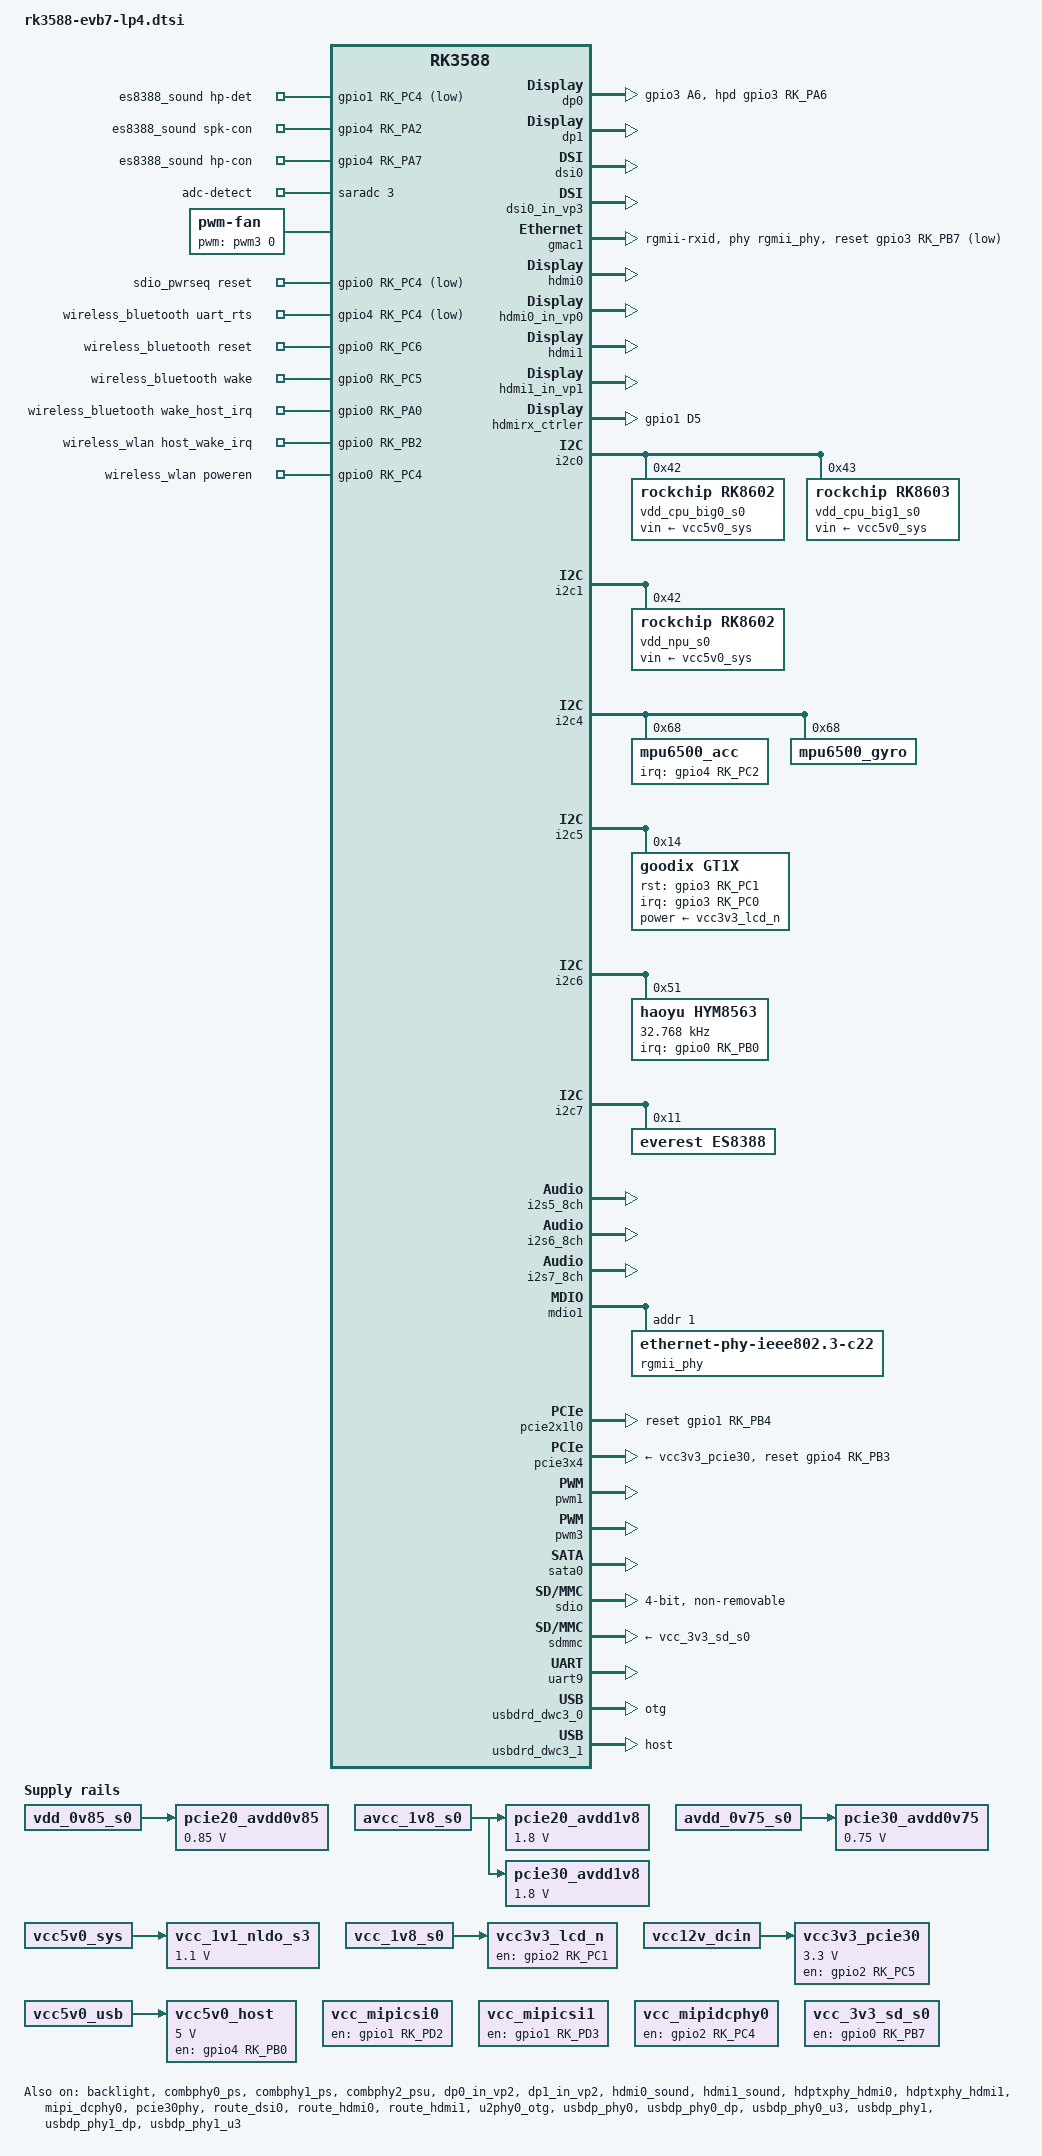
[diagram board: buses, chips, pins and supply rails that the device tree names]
// SPDX-License-Identifier: (GPL-2.0+ OR MIT)
/*
 * Copyright (c) 2021 Rockchip Electronics Co., Ltd.
 *
 */

#include "dt-bindings/usb/pd.h"
#include "rk3588.dtsi"
#include "rk3588-evb.dtsi"
#include "rk3588-rk806-single.dtsi"

/ {
	/* If hdmirx node is disabled, delete the reserved-memory node here. */
	reserved-memory {
		#address-cells = <2>;
		#size-cells = <2>;
		ranges;

		/* Reserve 128MB memory for hdmirx-controller@fdee0000 */
		cma {
			compatible = "shared-dma-pool";
			reusable;
			reg = <0x0 (256 * 0x100000) 0x0 (128 * 0x100000)>;
			linux,cma-default;
		};
	};

	es8388_sound: es8388-sound {
		status = "okay";
		compatible = "rockchip,multicodecs-card";
		rockchip,card-name = "rockchip-es8388";
		hp-det-gpio = <&gpio1 RK_PC4 GPIO_ACTIVE_LOW>;
		io-channels = <&saradc 3>;
		io-channel-names = "adc-detect";
		keyup-threshold-microvolt = <1800000>;
		poll-interval = <100>;
		spk-con-gpio = <&gpio4 RK_PA2 GPIO_ACTIVE_HIGH>;
		hp-con-gpio = <&gpio4 RK_PA7 GPIO_ACTIVE_HIGH>;
		rockchip,format = "i2s";
		rockchip,mclk-fs = <256>;
		rockchip,cpu = <&i2s0_8ch>;
		rockchip,codec = <&es8388>;
		rockchip,audio-routing =
			"Headphone", "LOUT1",
			"Headphone", "ROUT1",
			"Speaker", "LOUT2",
			"Speaker", "ROUT2",
			"Headphone", "Headphone Power",
			"Headphone", "Headphone Power",
			"Speaker", "Speaker Power",
			"Speaker", "Speaker Power",
			"LINPUT1", "Main Mic",
			"LINPUT2", "Main Mic",
			"RINPUT1", "Headset Mic",
			"RINPUT2", "Headset Mic";
		pinctrl-names = "default";
		pinctrl-0 = <&hp_det>;
		play-pause-key {
			label = "playpause";
			linux,code = <KEY_PLAYPAUSE>;
			press-threshold-microvolt = <2000>;
		};
	};

	fan: pwm-fan {
		compatible = "pwm-fan";
		#cooling-cells = <2>;
		pwms = <&pwm3 0 50000 0>;
		cooling-levels = <0 50 100 150 200 255>;
		rockchip,temp-trips = <
			50000	1
			55000	2
			60000	3
			65000	4
			70000	5
		>;
	};

	hdmiin-sound {
		compatible = "rockchip,hdmi";
		rockchip,mclk-fs = <128>;
		rockchip,format = "i2s";
		rockchip,bitclock-master = <&hdmirx_ctrler>;
		rockchip,frame-master = <&hdmirx_ctrler>;
		rockchip,card-name = "rockchip,hdmiin";
		rockchip,cpu = <&i2s7_8ch>;
		rockchip,codec = <&hdmirx_ctrler 0>;
		rockchip,jack-det;
	};

	pcie20_avdd0v85: pcie20-avdd0v85 {
		compatible = "regulator-fixed";
		regulator-name = "pcie20_avdd0v85";
		regulator-boot-on;
		regulator-always-on;
		regulator-min-microvolt = <850000>;
		regulator-max-microvolt = <850000>;
		vin-supply = <&vdd_0v85_s0>;
	};

	pcie20_avdd1v8: pcie20-avdd1v8 {
		compatible = "regulator-fixed";
		regulator-name = "pcie20_avdd1v8";
		regulator-boot-on;
		regulator-always-on;
		regulator-min-microvolt = <1800000>;
		regulator-max-microvolt = <1800000>;
		vin-supply = <&avcc_1v8_s0>;
	};

	pcie30_avdd0v75: pcie30-avdd0v75 {
		compatible = "regulator-fixed";
		regulator-name = "pcie30_avdd0v75";
		regulator-boot-on;
		regulator-always-on;
		regulator-min-microvolt = <750000>;
		regulator-max-microvolt = <750000>;
		vin-supply = <&avdd_0v75_s0>;
	};

	pcie30_avdd1v8: pcie30-avdd1v8 {
		compatible = "regulator-fixed";
		regulator-name = "pcie30_avdd1v8";
		regulator-boot-on;
		regulator-always-on;
		regulator-min-microvolt = <1800000>;
		regulator-max-microvolt = <1800000>;
		vin-supply = <&avcc_1v8_s0>;
	};

	sdio_pwrseq: sdio-pwrseq {
		compatible = "mmc-pwrseq-simple";
		clocks = <&hym8563>;
		clock-names = "ext_clock";
		pinctrl-names = "default";
		pinctrl-0 = <&wifi_enable_h>;
		/*
		 * On the module itself this is one of these (depending
		 * on the actual card populated):
		 * - SDIO_RESET_L_WL_REG_ON
		 * - PDN (power down when low)
		 */
		post-power-on-delay-ms = <200>;
		reset-gpios = <&gpio0 RK_PC4 GPIO_ACTIVE_LOW>;
	};

	rk_headset: rk-headset {
		status = "disabled";
		compatible = "rockchip_headset";
		headset_gpio = <&gpio1 RK_PD5 GPIO_ACTIVE_LOW>;
		pinctrl-names = "default";
		pinctrl-0 = <&hp_det>;
		io-channels = <&saradc 3>;
	};


	vcc_1v1_nldo_s3: vcc-1v1-nldo-s3 {
		compatible = "regulator-fixed";
		regulator-name = "vcc_1v1_nldo_s3";
		regulator-always-on;
		regulator-boot-on;
		regulator-min-microvolt = <1100000>;
		regulator-max-microvolt = <1100000>;
		vin-supply = <&vcc5v0_sys>;
	};

	vcc3v3_lcd_n: vcc3v3-lcd0-n {
		compatible = "regulator-fixed";
		regulator-name = "vcc3v3_lcd0_n";
		regulator-boot-on;
		enable-active-high;
		gpio = <&gpio2 RK_PC1 GPIO_ACTIVE_HIGH>;
		vin-supply = <&vcc_1v8_s0>;
	};

	vcc3v3_pcie30: vcc3v3-pcie30 {
		compatible = "regulator-fixed";
		regulator-name = "vcc3v3_pcie30";
		regulator-min-microvolt = <3300000>;
		regulator-max-microvolt = <3300000>;
		enable-active-high;
		gpios = <&gpio2 RK_PC5 GPIO_ACTIVE_HIGH>;
		startup-delay-us = <5000>;
		vin-supply = <&vcc12v_dcin>;
	};

	vcc5v0_host: vcc5v0-host {
		compatible = "regulator-fixed";
		regulator-name = "vcc5v0_host";
		regulator-boot-on;
		regulator-always-on;
		regulator-min-microvolt = <5000000>;
		regulator-max-microvolt = <5000000>;
		enable-active-high;
		gpio = <&gpio4 RK_PB0 GPIO_ACTIVE_HIGH>;
		vin-supply = <&vcc5v0_usb>;
		pinctrl-names = "default";
		pinctrl-0 = <&vcc5v0_host_en>;
	};

	vcc_mipicsi0: vcc-mipicsi0-regulator {
		compatible = "regulator-fixed";
		gpio = <&gpio1 RK_PD2 GPIO_ACTIVE_HIGH>;
		pinctrl-names = "default";
		pinctrl-0 = <&mipicsi0_pwr>;
		regulator-name = "vcc_mipicsi0";
		enable-active-high;
	};

	vcc_mipicsi1: vcc-mipicsi1-regulator {
		compatible = "regulator-fixed";
		gpio = <&gpio1 RK_PD3 GPIO_ACTIVE_HIGH>;
		pinctrl-names = "default";
		pinctrl-0 = <&mipicsi1_pwr>;
		regulator-name = "vcc_mipicsi1";
		enable-active-high;
	};

	vcc_mipidcphy0: vcc-mipidcphy0-regulator {
		compatible = "regulator-fixed";
		gpio = <&gpio2 RK_PC4 GPIO_ACTIVE_HIGH>;
		pinctrl-names = "default";
		pinctrl-0 = <&mipidcphy0_pwr>;
		regulator-name = "vcc_mipidcphy0";
		enable-active-high;
	};

	vcc_3v3_sd_s0: vcc-3v3-sd-s0-regulator {
		compatible = "regulator-fixed";
		gpio = <&gpio0 RK_PB7 GPIO_ACTIVE_HIGH>;
		pinctrl-names = "default";
		pinctrl-0 = <&sd_s0_pwr>;
		regulator-name = "vcc_3v3_sd_s0";
		enable-active-high;
	};

	wireless_bluetooth: wireless-bluetooth {
		compatible = "bluetooth-platdata";
		clocks = <&hym8563>;
		clock-names = "ext_clock";
		uart_rts_gpios = <&gpio4 RK_PC4 GPIO_ACTIVE_LOW>;
		pinctrl-names = "default", "rts_gpio";
		pinctrl-0 = <&uart9m0_rtsn>, <&bt_reset_gpio>, <&bt_wake_gpio>, <&bt_irq_gpio>;
		pinctrl-1 = <&uart9_gpios>;
		BT,reset_gpio    = <&gpio0 RK_PC6 GPIO_ACTIVE_HIGH>;
		BT,wake_gpio     = <&gpio0 RK_PC5 GPIO_ACTIVE_HIGH>;
		BT,wake_host_irq = <&gpio0 RK_PA0 GPIO_ACTIVE_HIGH>;
		status = "okay";
	};

	wireless_wlan: wireless-wlan {
		compatible = "wlan-platdata";
		wifi_chip_type = "ap6398s";
		pinctrl-names = "default";
		pinctrl-0 = <&wifi_host_wake_irq>;
		WIFI,host_wake_irq = <&gpio0 RK_PB2 GPIO_ACTIVE_HIGH>;
		WIFI,poweren_gpio = <&gpio0 RK_PC4 GPIO_ACTIVE_HIGH>;
		status = "okay";
	};
};

&backlight {
	pwms = <&pwm1 0 25000 0>;
	status = "okay";
};

&combphy0_ps {
	status = "okay";
};

&combphy1_ps {
	status = "okay";
};

&combphy2_psu {
	status = "okay";
};

&dp0 {
	pinctrl-names = "default";
	pinctrl-0 = <&vga_hpdin_l>;
	hpd-gpios = <&gpio3 RK_PA6 GPIO_ACTIVE_HIGH>;
	status = "okay";
};

&dp0_in_vp2 {
	status = "okay";
};

&dp1 {
	pinctrl-names = "default";
	pinctrl-0 = <&dp1m0_pins>;
	status = "okay";
};

&dp1_in_vp2 {
	status = "okay";
};

/*
 * mipi_dcphy0 needs to be enabled
 * when dsi0 is enabled
 */
&dsi0 {
	status = "okay";
};

&dsi0_in_vp2 {
	status = "disabled";
};

&dsi0_in_vp3 {
	status = "okay";
};

&dsi0_panel {
	power-supply = <&vcc3v3_lcd_n>;
	reset-gpios = <&gpio0 RK_PD3 GPIO_ACTIVE_LOW>;
	pinctrl-names = "default";
	pinctrl-0 = <&lcd_rst_gpio>;
};

/*
 * mipi_dcphy1 needs to be enabled
 * when dsi1 is enabled
 */
&dsi1 {
	status = "disabled";
};

&dsi1_in_vp2 {
	status = "disabled";
};

&dsi1_in_vp3 {
	status = "disabled";
};

&dsi1_panel {
	power-supply = <&vcc3v3_lcd_n>;

	/*
	 * because in hardware, the two screens share the reset pin,
	 * so reset-gpios need only in dsi1 enable and dsi0 disabled
	 * case.
	 */

	//reset-gpios = <&gpio0 RK_PD3 GPIO_ACTIVE_LOW>;
	//pinctrl-names = "default";
	//pinctrl-0 = <&lcd_rst_gpio>;
};

&gmac1 {
	/* Use rgmii-rxid mode to disable rx delay inside Soc */
	phy-mode = "rgmii-rxid";
	clock_in_out = "output";

	snps,reset-gpio = <&gpio3 RK_PB7 GPIO_ACTIVE_LOW>;
	snps,reset-active-low;
	/* Reset time is 20ms, 100ms for rtl8211f */
	snps,reset-delays-us = <0 20000 100000>;

	pinctrl-names = "default";
	pinctrl-0 = <&gmac1_miim
		     &gmac1_tx_bus2
		     &gmac1_rx_bus2
		     &gmac1_rgmii_clk
		     &gmac1_rgmii_bus>;

	tx_delay = <0x43>;
	/* rx_delay = <0x3f>; */

	phy-handle = <&rgmii_phy>;
	status = "okay";
};

&hdmi0 {
	enable-gpios = <&gpio4 RK_PB1 GPIO_ACTIVE_HIGH>;
	status = "okay";
};

&hdmi0_in_vp0 {
	status = "okay";
};

&hdmi0_sound {
	status = "okay";
};

&hdmi1 {
	enable-gpios = <&gpio4 RK_PB2 GPIO_ACTIVE_HIGH>;
	status = "okay";
};

&hdmi1_in_vp1 {
	status = "okay";
};

&hdmi1_sound {
	status = "okay";
};

/* Should work with at least 128MB cma reserved above. */
&hdmirx_ctrler {
	status = "okay";

	#sound-dai-cells = <1>;
	/* Effective level used to trigger HPD: 0-low, 1-high */
	hpd-trigger-level = <1>;
	hdmirx-det-gpios = <&gpio1 RK_PD5 GPIO_ACTIVE_LOW>;
	pinctrl-names = "default";
	pinctrl-0 = <&hdmim1_rx &hdmirx_det>;
};

&hdptxphy_hdmi0 {
	status = "okay";
};

&hdptxphy_hdmi1 {
	status = "okay";
};

&i2c0 {
	status = "okay";
	pinctrl-names = "default";
	pinctrl-0 = <&i2c0m2_xfer>;

	vdd_cpu_big0_s0: vdd_cpu_big0_mem_s0: rk8602@42 {
		compatible = "rockchip,rk8602";
		reg = <0x42>;
		vin-supply = <&vcc5v0_sys>;
		regulator-compatible = "rk860x-reg";
		regulator-name = "vdd_cpu_big0_s0";
		regulator-min-microvolt = <550000>;
		regulator-max-microvolt = <1050000>;
		regulator-ramp-delay = <2300>;
		rockchip,suspend-voltage-selector = <1>;
		regulator-boot-on;
		regulator-always-on;
		regulator-state-mem {
			regulator-off-in-suspend;
		};
	};

	vdd_cpu_big1_s0: vdd_cpu_big1_mem_s0: rk8603@43 {
		compatible = "rockchip,rk8603";
		reg = <0x43>;
		vin-supply = <&vcc5v0_sys>;
		regulator-compatible = "rk860x-reg";
		regulator-name = "vdd_cpu_big1_s0";
		regulator-min-microvolt = <550000>;
		regulator-max-microvolt = <1050000>;
		regulator-ramp-delay = <2300>;
		rockchip,suspend-voltage-selector = <1>;
		regulator-boot-on;
		regulator-always-on;
		regulator-state-mem {
			regulator-off-in-suspend;
		};
	};
};

&i2c1 {
	status = "okay";
	pinctrl-names = "default";
	pinctrl-0 = <&i2c1m2_xfer>;

	vdd_npu_s0: vdd_npu_mem_s0: rk8602@42 {
		compatible = "rockchip,rk8602";
		reg = <0x42>;
		vin-supply = <&vcc5v0_sys>;
		regulator-compatible = "rk860x-reg";
		regulator-name = "vdd_npu_s0";
		regulator-min-microvolt = <550000>;
		regulator-max-microvolt = <950000>;
		regulator-ramp-delay = <2300>;
		rockchip,suspend-voltage-selector = <1>;
		regulator-boot-on;
		regulator-always-on;
		regulator-state-mem {
			regulator-off-in-suspend;
		};
	};
};

&i2c4 {
	status = "okay";
	pinctrl-0 = <&i2c4m1_xfer>;

	ls_stk3332: light@47 {
		compatible = "ls_stk3332";
		status = "disabled";
		reg = <0x47>;
		type = <SENSOR_TYPE_LIGHT>;
		irq_enable = <0>;
		als_threshold_high = <100>;
		als_threshold_low = <10>;
		als_ctrl_gain = <2>; /* 0:x1 1:x4 2:x16 3:x64 */
		poll_delay_ms = <100>;
	};

	ps_stk3332: proximity@47 {
		compatible = "ps_stk3332";
		status = "disabled";
		reg = <0x47>;
		type = <SENSOR_TYPE_PROXIMITY>;
		//pinctrl-names = "default";
		//pinctrl-0 = <&gpio3_c6>;
		//irq-gpio = <&gpio3 RK_PC6 IRQ_TYPE_LEVEL_LOW>;
		//irq_enable = <1>;
		ps_threshold_high = <0x200>;
		ps_threshold_low = <0x100>;
		ps_ctrl_gain = <3>; /* 0:x1 1:x2 2:x5 3:x8 */
		ps_led_current = <4>; /* 0:3.125mA 1:6.25mA 2:12.5mA 3:25mA 4:50mA 5:100mA*/
		poll_delay_ms = <100>;
	};

	mpu6500_acc: mpu_acc@68 {
		compatible = "mpu6500_acc";
		reg = <0x68>;
		irq-gpio = <&gpio4 RK_PC2 IRQ_TYPE_EDGE_RISING>;
		irq_enable = <0>;
		poll_delay_ms = <30>;
		type = <SENSOR_TYPE_ACCEL>;
		layout = <5>;
	};

	mpu6500_gyro: mpu_gyro@68 {
		compatible = "mpu6500_gyro";
		reg = <0x68>;
		poll_delay_ms = <30>;
		type = <SENSOR_TYPE_GYROSCOPE>;
		layout = <5>;
	};
};

&i2c5 {
	status = "okay";
	gt1x: gt1x@14 {
		compatible = "goodix,gt1x";
		reg = <0x14>;
		pinctrl-names = "default";
		pinctrl-0 = <&touch_gpio>;
		goodix,rst-gpio = <&gpio3 RK_PC1 GPIO_ACTIVE_HIGH>;
		goodix,irq-gpio = <&gpio3 RK_PC0 IRQ_TYPE_LEVEL_LOW>;
		power-supply = <&vcc3v3_lcd_n>;
	};
};

&i2c6 {
	status = "okay";

	hym8563: hym8563@51 {
		compatible = "haoyu,hym8563";
		reg = <0x51>;
		#clock-cells = <0>;
		clock-frequency = <32768>;
		clock-output-names = "hym8563";
		pinctrl-names = "default";
		pinctrl-0 = <&hym8563_int>;
		interrupt-parent = <&gpio0>;
		interrupts = <RK_PB0 IRQ_TYPE_LEVEL_LOW>;
		wakeup-source;
	};
};

&i2c7 {
	status = "okay";
	es8388: es8388@11 {
		status = "okay";
		#sound-dai-cells = <0>;
		compatible = "everest,es8388", "everest,es8323";
		reg = <0x11>;
		clocks = <&cru I2S0_8CH_MCLKOUT>;
		clock-names = "mclk";
		assigned-clocks = <&cru I2S0_8CH_MCLKOUT>;
		assigned-clock-rates = <12288000>;
		pinctrl-names = "default";
		pinctrl-0 = <&i2s0_mclk>;
	};
};

&i2s5_8ch {
	status = "okay";
};

&i2s6_8ch {
	status = "okay";
};

&i2s7_8ch {
	status = "okay";
};

&mdio1 {
	rgmii_phy: phy@1 {
		compatible = "ethernet-phy-ieee802.3-c22";
		reg = <0x1>;
	};
};

&mipi_dcphy0 {
	status = "okay";
};

&mipi_dcphy1 {
	status = "disabled";
};

&pcie2x1l0 {
	reset-gpios = <&gpio1 RK_PB4 GPIO_ACTIVE_HIGH>;
	status = "okay";
};

&pcie30phy {
	rockchip,pcie30-phymode = <PHY_MODE_PCIE_AGGREGATION>;
	status = "okay";
};

&pcie3x4 {
	reset-gpios = <&gpio4 RK_PB3 GPIO_ACTIVE_HIGH>;
	vpcie3v3-supply = <&vcc3v3_pcie30>;
	status = "okay";
};

&pinctrl {
	cam {
		mipicsi0_pwr: mipicsi0-pwr {
			rockchip,pins =
				/* camera power en */
				<1 RK_PD2 RK_FUNC_GPIO &pcfg_pull_none>;
		};
		mipicsi1_pwr: mipicsi1-pwr {
			rockchip,pins =
				/* camera power en */
				<1 RK_PD3 RK_FUNC_GPIO &pcfg_pull_none>;
		};
		mipidcphy0_pwr: mipidcphy0-pwr {
			rockchip,pins =
				/* camera power en */
				<2 RK_PC4 RK_FUNC_GPIO &pcfg_pull_none>;
		};
	};

	vga {
		vga_hpdin_l: vga-hpdin-l {
			rockchip,pins = <3 RK_PA6 RK_FUNC_GPIO &pcfg_pull_none>;
		};
	};

	hdmi {
		hdmirx_det: hdmirx-det {
			rockchip,pins = <1 RK_PD5 RK_FUNC_GPIO &pcfg_pull_up>;
		};
	};

	headphone {
		hp_det: hp-det {
			rockchip,pins = <1 RK_PC4 RK_FUNC_GPIO &pcfg_pull_none>;
		};
	};

	hym8563 {
		hym8563_int: hym8563-int {
			rockchip,pins = <0 RK_PB0 RK_FUNC_GPIO &pcfg_pull_up>;
		};
	};

	lcd {
		lcd_rst_gpio: lcd-rst-gpio {
			rockchip,pins = <0 RK_PD3 RK_FUNC_GPIO &pcfg_pull_none>;
		};
	};

	sdio-pwrseq {
		wifi_enable_h: wifi-enable-h {
			rockchip,pins = <0 RK_PC4 RK_FUNC_GPIO &pcfg_pull_up>;
		};
	};

	sdmmc {
		sd_s0_pwr: sd-s0-pwr {
			rockchip,pins = <0 RK_PB7 RK_FUNC_GPIO &pcfg_pull_up>;
		};
	};

	touch {
		touch_gpio: touch-gpio {
			rockchip,pins =
				<3 RK_PC1 RK_FUNC_GPIO &pcfg_pull_down>,
				<3 RK_PC0 RK_FUNC_GPIO &pcfg_pull_up>;
		};
	};

	usb {
		vcc5v0_host_en: vcc5v0-host-en {
			rockchip,pins = <4 RK_PB0 RK_FUNC_GPIO &pcfg_pull_none>;
		};
	};


	wireless-bluetooth {
		uart9_gpios: uart9-gpios {
			rockchip,pins = <4 RK_PC4 RK_FUNC_GPIO &pcfg_pull_none>;
		};

		bt_reset_gpio: bt-reset-gpio {
			rockchip,pins = <0 RK_PC6 RK_FUNC_GPIO &pcfg_pull_none>;
		};

		bt_wake_gpio: bt-wake-gpio {
			rockchip,pins = <0 RK_PC5 RK_FUNC_GPIO &pcfg_pull_none>;
		};

		bt_irq_gpio: bt-irq-gpio {
			rockchip,pins = <0 RK_PA0 RK_FUNC_GPIO &pcfg_pull_none>;
		};
	};

	wireless-wlan {
		wifi_host_wake_irq: wifi-host-wake-irq {
			rockchip,pins = <0 RK_PB2 RK_FUNC_GPIO &pcfg_pull_down>;
		};
	};
};

&pwm1 {
	status = "okay";
};

&pwm3 {
	pinctrl-0 = <&pwm3m1_pins>;
	status = "okay";
};

&route_dsi0 {
	status = "okay";
	connect = <&vp3_out_dsi0>;
};

&route_dsi1 {
	status = "disabled";
	connect = <&vp3_out_dsi1>;
};

&route_hdmi0 {
	status = "okay";
};

&route_hdmi1 {
	status = "okay";
};

&sata0 {
	status = "okay";
};

&sdio {
	max-frequency = <150000000>;
	no-sd;
	no-mmc;
	bus-width = <4>;
	disable-wp;
	cap-sd-highspeed;
	cap-sdio-irq;
	keep-power-in-suspend;
	mmc-pwrseq = <&sdio_pwrseq>;
	non-removable;
	pinctrl-names = "default";
	pinctrl-0 = <&sdiom0_pins>;
	sd-uhs-sdr104;
	status = "okay";
};

&sdmmc {
	status = "okay";
	vmmc-supply = <&vcc_3v3_sd_s0>;
};

&uart9 {
	status = "okay";
	pinctrl-names = "default";
	pinctrl-0 = <&uart9m0_xfer &uart9m0_ctsn>;
};

&u2phy0_otg {
	status = "okay";
};

&u2phy1_otg {
	phy-supply = <&vcc5v0_host>;
};

&u2phy2_host {
	phy-supply = <&vcc5v0_host>;
};

&u2phy3_host {
	phy-supply = <&vcc5v0_host>;
};

&usbdp_phy0 {
	rockchip,dp-lane-mux = <2 3>;
	status = "okay";
};

&usbdp_phy0_dp {
	status = "okay";
};

&usbdp_phy0_u3 {
	status = "okay";
};

&usbdp_phy1 {
	rockchip,dp-lane-mux = <3 2 1 0>;
	status = "okay";
};

&usbdp_phy1_dp {
	status = "okay";
};

&usbdp_phy1_u3 {
	maximum-speed = "high-speed";
	status = "okay";
};

&usbdrd_dwc3_0 {
	dr_mode = "otg";
	extcon = <&u2phy0>;
	status = "okay";
};

&usbdrd_dwc3_1 {
	dr_mode = "host";
	maximum-speed = "high-speed";
	status = "okay";
};
